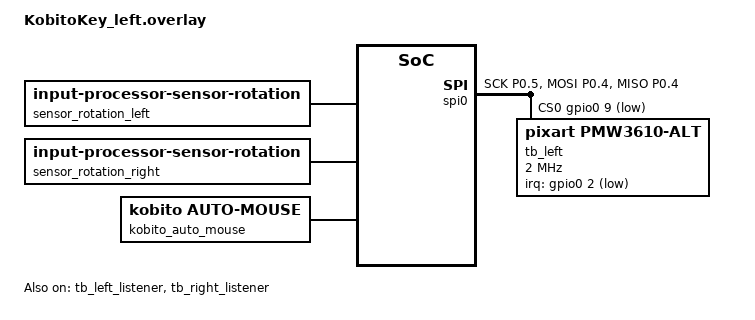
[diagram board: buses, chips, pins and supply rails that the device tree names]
#include "kobitokey.dtsi"
#include <zephyr/dt-bindings/input/input-event-codes.h>
#include <input/processors.dtsi>
#include <input/processors/sensor_rotation.dtsi>
#include <input/processors/runtime-input-processor.dtsi>

&xiao_serial { status = "disabled"; };

&pinctrl {
    spi0_default: spi0_default {
        group1 {
            psels = <NRF_PSEL(SPIM_SCK,  0, 5)>,
                    <NRF_PSEL(SPIM_MOSI, 0, 4)>,
                    <NRF_PSEL(SPIM_MISO, 0, 4)>;
        };
    };
    spi0_sleep: spi0_sleep {
        group1 {
            psels = <NRF_PSEL(SPIM_SCK,  0, 5)>,
                    <NRF_PSEL(SPIM_MOSI, 0, 4)>,
                    <NRF_PSEL(SPIM_MISO, 0, 4)>;
            low-power-enable;
        };
    };
};

&spi0 {
    status = "okay";
    compatible = "nordic,nrf-spim";
    pinctrl-0 = <&spi0_default>;
    pinctrl-1 = <&spi0_sleep>;
    pinctrl-names = "default", "sleep";
    cs-gpios = <&gpio0 9 GPIO_ACTIVE_LOW>;

    tb_left: trackball@0 {
        status = "okay";
        compatible = "pixart,pmw3610-alt";
        reg = <0>;
        spi-max-frequency = <2000000>;
        irq-gpios = <&gpio0 2 (GPIO_ACTIVE_LOW | GPIO_PULL_UP)>;
        cpi = <200>; /* センサー感度 */


        evt-type = <INPUT_EV_REL>;
        x-input-code = <INPUT_REL_X>;
        y-input-code = <INPUT_REL_Y>;
    };
};

/ {
    sensor_rotation_left: sensor-rotation-left {
        compatible = "zmk,input-processor-sensor-rotation";
        status = "okay";
        #input-processor-cells = <0>;
        rotation-angle = <(-24)>;
    };

    sensor_rotation_right: sensor-rotation-right {
        compatible = "zmk,input-processor-sensor-rotation";
        #input-processor-cells = <0>;
        status = "okay";
        rotation-angle = <24>;
    };
};

&tb_left_listener {
    status = "okay";
    device = <&tb_left>;

    input-processors =
            <&sensor_rotation_left>,
            <&scroll_runtime_input_processor>;
    };

/ {
  behaviors {
    precision: precision {
      compatible = "kobito,precision";
      display-name = "Pointer precision (hold)";
      #binding-cells = <0>;
    };
  };

  kobito_auto_mouse: auto-mouse {
    compatible = "kobito,auto-mouse";
    #input-processor-cells = <0>;
    layer = <6>;
    excluded-positions = <6 7 8 30 32 33 39>;
  };
};

&tb_right_listener {
    status = "okay";

    input-processors =
        <&sensor_rotation_right>,
        <&kobito_auto_mouse>,
        <&mouse_runtime_input_processor>;
};

/* Keep the mounting-angle corrections above; Studio rotation is an extra offset. */
&scroll_runtime_input_processor {
    /delete-property/ temp-layer-keep-keycodes;
    x-codes = <INPUT_REL_X>;
    y-codes = <INPUT_REL_Y>;
    scale-divisor = <15>;
    xy-to-scroll-enabled;
    x-invert;
    y-invert;
    axis-snap-mode = <2>;
};

&mouse_runtime_input_processor {
    /delete-property/ temp-layer-keep-keycodes;
    /* Use KobitoKey's position-based auto-mouse processor, not the generic one. */
    temp-layer-deactivation-delay-ms = <5000>;
};
